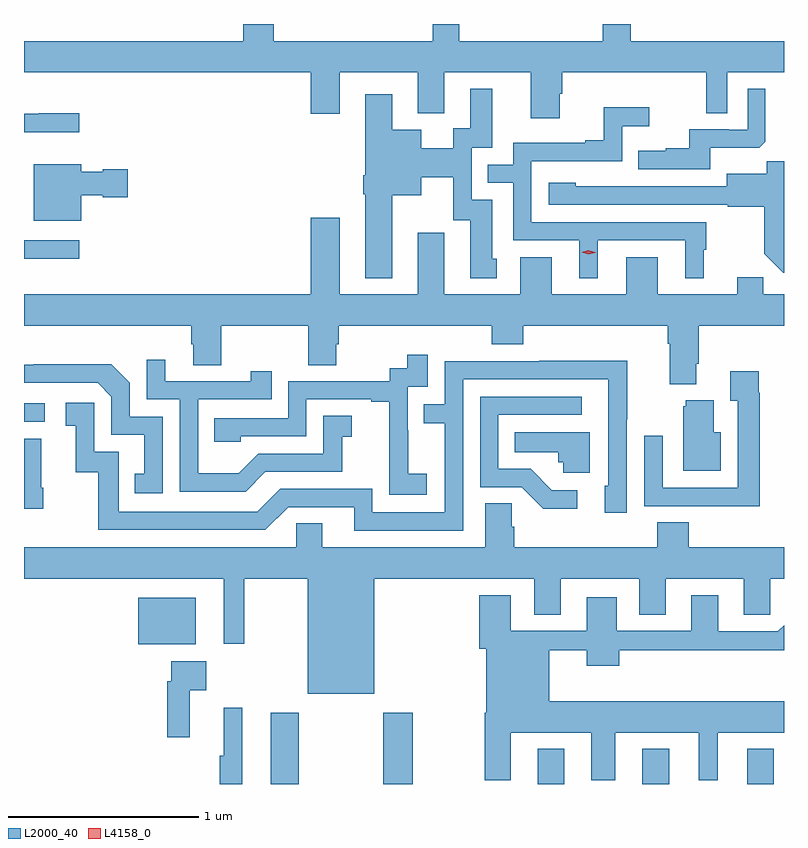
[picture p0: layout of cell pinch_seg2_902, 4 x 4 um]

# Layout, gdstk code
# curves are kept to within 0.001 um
import gdstk
lib = gdstk.Library(unit=1e-6, precision=1e-09)
def R(c, l, rs):  # rectangles x0, y0, x1, y1
    for r in rs: c.add(gdstk.rectangle(r[:2], r[2:], *l))
def A(c, l, x, y, w, h, nx, ny, dx, dy):  # array of equal rectangles
    R(c, l, [(x+i*dx, y+j*dy, x+i*dx+w, y+j*dy+h) for i in range(nx) for j in range(ny)])
def P(c, l, *ps):  # polygons
    for p in ps: c.add(gdstk.Polygon(p, *l))
L2000_40 = (2000, 40)
L4158_0 = (4158, 0)

pinch_seg2_902 = lib.new_cell('pinch_seg2_902')
A(pinch_seg2_902, L2000_40, 438.287, 639.895, 0.14, 0.186, 3, 1, 0.552, 0)
R(pinch_seg2_902, L2000_40, [(436.883,639.895,437.031,640.27), (437.476,639.895,437.631,640.27), (436.184,640.631,436.489,640.876), (435.584,641.802,435.694,641.898)])
P(pinch_seg2_902, L2000_40, [(438.403,643.527),(438.416,643.527),(438.416,643.64),(439.176,643.64),(439.176,643.426),(439.284,643.426),(439.284,643.64),(439.584,643.64),(439.584,643.804),(438.777,643.804),(438.777,643.895),(438.629,643.895),(438.629,643.804),(437.875,643.804),(437.875,643.895),(437.735,643.895),(437.735,643.804),(436.899,643.804),(436.899,643.895),(436.739,643.895),(436.739,643.804),(435.584,643.804),(435.584,643.64),(437.093,643.64),(437.093,643.422),(437.245,643.422),(437.245,643.64),(437.657,643.64),(437.657,643.424),(437.797,643.424),(437.797,643.64),(438.251,643.64),(438.251,643.398),(438.403,643.398)],
  [(439.195,643.244),(439.453,643.244),(439.485,643.275),(439.485,643.555),(439.392,643.555),(439.392,643.338),(439.292,643.338),(439.292,643.341),(439.085,643.341),(439.085,643.24),(438.961,643.24),(438.961,643.228),(438.817,643.228),(438.817,643.131),(439.195,643.131)],
  [(437.521,642.995),(437.674,642.995),(437.674,643.088),(437.844,643.088),(437.844,642.861),(437.933,642.861),(437.933,642.558),(438.073,642.558),(438.073,642.66),(438.049,642.66),(438.049,642.969),(437.94,642.969),(437.94,643.245),(438.049,643.245),(438.049,643.555),(437.933,643.555),(437.933,643.346),(437.843,643.346),(437.843,643.24),(437.674,643.24),(437.674,643.339),(437.521,643.339),(437.521,643.525),(437.381,643.525),(437.381,643.099),(437.369,643.099),(437.369,642.999),(437.381,642.999),(437.381,642.557),(437.521,642.557)],
  [(438.604,642.756),(439.064,642.756),(439.064,642.557),(439.162,642.557),(439.162,642.708),(439.174,642.708),(439.174,642.852),(438.255,642.852),(438.255,643.173),(438.732,643.173),(438.732,643.358),(438.874,643.358),(438.874,643.457),(438.634,643.457),(438.634,643.282),(438.539,643.282),(438.539,643.269),(438.159,643.269),(438.159,643.155),(438.025,643.155),(438.025,643.059),(438.159,643.059),(438.159,642.756),(438.506,642.756),(438.506,642.557),(438.604,642.557)],
  [(435.874,643.424),(435.661,643.424),(435.661,643.422),(435.584,643.422),(435.584,643.325),(435.874,643.325)],
  [(439.584,643.172),(439.494,643.172),(439.494,643.108),(439.283,643.108),(439.283,643.041),(438.489,643.042),(438.489,643.06),(438.345,643.06),(438.345,642.945),(439.287,642.945),(439.287,642.933),(439.479,642.933),(439.479,642.687),(439.579,642.587),(439.584,642.587)],
  [(435.886,642.995),(435.999,642.995),(435.999,642.983),(436.129,642.983),(436.129,643.13),(435.999,643.13),(435.999,643.117),(435.886,643.117),(435.886,643.156),(435.635,643.156),(435.635,642.86),(435.886,642.86)],
  [(439.123,642.106),(439.136,642.106),(439.136,642.308),(439.584,642.308),(439.584,642.472),(439.475,642.472),(439.475,642.563),(439.337,642.563),(439.337,642.472),(438.919,642.472),(438.919,642.667),(438.755,642.667),(438.755,642.472),(438.361,642.472),(438.361,642.667),(438.197,642.667),(438.197,642.472),(437.797,642.472),(437.797,642.796),(437.657,642.796),(437.657,642.472),(437.245,642.472),(437.245,642.874),(437.093,642.874),(437.093,642.472),(435.584,642.472),(435.584,642.308),(436.463,642.308),(436.463,642.21),(436.475,642.21),(436.475,642.1),(436.623,642.1),(436.623,642.308),(437.08,642.308),(437.08,642.1),(437.227,642.1),(437.227,642.21),(437.24,642.21),(437.24,642.308),(438.047,642.308),(438.047,642.209),(438.212,642.209),(438.212,642.308),(438.971,642.308),(438.971,642.212),(438.983,642.212),(438.983,641.999),(439.123,641.999)],
  [(435.874,642.756),(435.584,642.756),(435.584,642.66),(435.627,642.66),(435.627,642.659),(435.874,642.659)],
  [(437.704,641.527),(437.606,641.527),(437.606,641.756),(437.604,641.756),(437.604,641.985),(437.709,641.985),(437.709,642.154),(437.601,642.154),(437.601,642.084),(437.508,642.084),(437.508,642.015),(436.974,642.015),(436.974,641.82),(436.585,641.82),(436.585,641.697),(436.725,641.697),(436.725,641.724),(437.07,641.724),(437.07,641.919),(437.411,641.919),(437.411,641.907),(437.507,641.907),(437.507,641.623),(437.506,641.623),(437.506,641.417),(437.704,641.417)],
  [(436.855,641.538),(437.259,641.538),(437.259,641.723),(437.308,641.723),(437.308,641.833),(437.16,641.833),(437.16,641.634),(436.818,641.634),(436.714,641.53),(436.5,641.53),(436.5,641.919),(436.889,641.919),(436.889,642.067),(436.778,642.067),(436.778,642.015),(436.327,642.015),(436.327,642.127),(436.23,642.127),(436.23,641.919),(436.404,641.919),(436.404,641.433),(436.75,641.433)],
  [(437.895,642.024),(438.659,642.024),(438.66,641.466),(438.641,641.466),(438.641,641.322),(438.756,641.322),(438.756,641.815),(438.759,641.815),(438.759,642.122),(438.295,642.122),(438.295,642.12),(437.799,642.12),(437.799,641.895),(437.689,641.895),(437.689,641.794),(437.799,641.794),(437.799,641.325),(437.418,641.325),(437.418,641.448),(436.932,641.448),(436.812,641.328),(436.083,641.328),(436.083,641.643),(435.954,641.643),(435.954,641.902),(435.804,641.902),(435.804,641.781),(435.857,641.781),(435.857,641.535),(435.975,641.535),(435.975,641.232),(436.854,641.232),(436.974,641.352),(437.321,641.352),(437.321,641.229),(437.895,641.229)],
  [(436.314,641.829),(436.14,641.829),(436.14,642.006),(436.042,642.104),(435.634,642.104),(435.634,642.102),(435.584,642.102),(435.584,642.006),(435.972,642.006),(436.044,641.934),(436.044,641.733),(436.217,641.733),(436.217,641.529),(436.168,641.529),(436.168,641.424),(436.314,641.424)],
  [(439.457,641.954),(439.45,641.954),(439.45,642.067),(439.301,642.067),(439.301,641.911),(439.341,641.911),(439.341,641.454),(438.945,641.454),(438.945,641.728),(438.849,641.728),(438.849,641.358),(439.165,641.358),(439.165,641.357),(439.457,641.357)],
  [(438.496,641.442),(438.361,641.442),(438.25,641.553),(438.081,641.553),(438.081,641.838),(438.52,641.838),(438.52,641.934),(437.985,641.934),(437.985,641.457),(438.204,641.457),(438.317,641.345),(438.496,641.345)],
  [(439.252,641.746),(439.213,641.746),(439.213,641.914),(439.067,641.914),(439.067,641.883),(439.055,641.883),(439.055,641.543),(439.252,641.543)],
  [(438.562,641.746),(438.166,641.746),(438.166,641.642),(438.397,641.642),(438.397,641.589),(438.423,641.589),(438.423,641.534),(438.562,641.534)],
  [(435.684,641.455),(435.676,641.455),(435.676,641.713),(435.584,641.713),(435.584,641.343),(435.684,641.343)],
  [(437.428,640.976),(438.269,640.976),(438.269,640.786),(438.409,640.786),(438.409,640.976),(438.821,640.976),(438.821,640.786),(438.961,640.786),(438.961,640.976),(439.373,640.976),(439.373,640.786),(439.512,640.786),(439.512,640.976),(439.584,640.976),(439.584,641.14),(439.082,641.14),(439.082,641.273),(438.917,641.273),(438.917,641.14),(438.164,641.14),(438.164,641.249),(438.15,641.249),(438.15,641.372),(438.011,641.372),(438.011,641.14),(437.155,641.14),(437.155,641.267),(437.016,641.267),(437.016,641.14),(435.584,641.14),(435.584,640.976),(436.634,640.976),(436.634,640.632),(436.744,640.632),(436.744,640.976),(437.078,640.976),(437.078,640.37),(437.428,640.37)],
  [(438.145,640.166),(438.569,640.166),(438.569,639.915),(438.697,639.915),(438.697,640.166),(439.136,640.166),(439.136,639.915),(439.234,639.915),(439.234,640.166),(439.584,640.166),(439.584,640.33),(438.349,640.33),(438.349,640.6),(438.545,640.6),(438.545,640.517),(438.716,640.517),(438.716,640.6),(439.333,640.6),(439.333,640.598),(439.584,640.598),(439.584,640.731),(439.551,640.698),(439.237,640.698),(439.237,640.888),(439.097,640.888),(439.097,640.701),(438.703,640.701),(438.703,640.879),(438.545,640.879),(438.545,640.701),(438.145,640.701),(438.145,640.888),(437.981,640.888),(437.981,640.608),(438.017,640.608),(438.017,640.27),(438.01,640.27),(438.01,639.915),(438.145,639.915)],
  [(436.457,640.388),(436.543,640.388),(436.543,640.54),(436.359,640.54),(436.359,640.436),(436.339,640.436),(436.339,640.14),(436.457,640.14)],
  [(436.732,640.297),(436.634,640.297),(436.634,640.044),(436.615,640.044),(436.615,639.895),(436.732,639.895)])
P(pinch_seg2_902, L4158_0, [(438.555,642.684),(438.519,642.695),(438.519,642.695),(438.519,642.695),(438.555,642.704),(438.591,642.693),(438.591,642.692),(438.591,642.692)])

lib.write_gds('pinch_seg2_902.gds')
